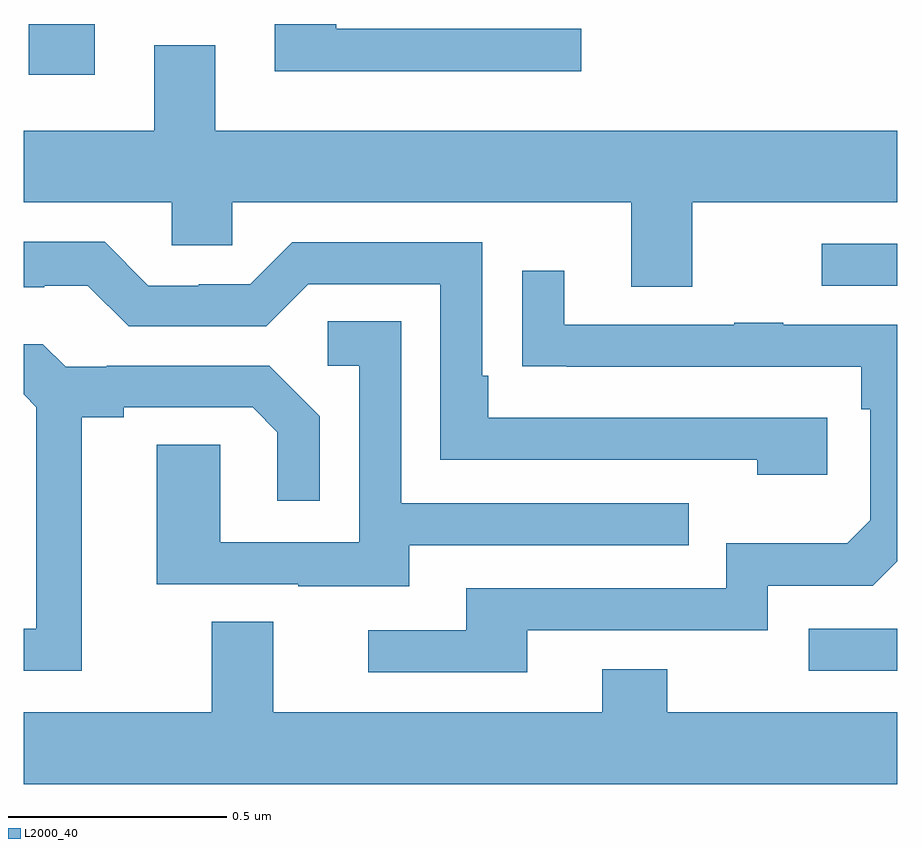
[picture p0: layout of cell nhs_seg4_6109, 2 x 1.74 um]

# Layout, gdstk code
import gdstk
lib = gdstk.Library(unit=1e-6, precision=1e-09)
def R(c, l, rs):  # rectangles x0, y0, x1, y1
    for r in rs: c.add(gdstk.rectangle(r[:2], r[2:], *l))
def P(c, l, *ps):  # polygons
    for p in ps: c.add(gdstk.Polygon(p, *l))
L2000_40 = (2000, 40)

nhs_seg4_6109 = lib.new_cell('nhs_seg4_6109')
R(nhs_seg4_6109, L2000_40, [(187.797,790.419,188,790.515), (187.827,791.301,188,791.397), (186.011,791.784,186.163,791.9)])
P(nhs_seg4_6109, L2000_40, [(187.276,791.889),(186.715,791.889),(186.715,791.9),(186.575,791.9),(186.575,791.792),(187.276,791.792)],
  [(187.531,791.492),(188,791.492),(188,791.656),(186.439,791.656),(186.439,791.851),(186.299,791.851),(186.299,791.656),(186,791.656),(186,791.492),(186.339,791.492),(186.339,791.394),(186.477,791.394),(186.477,791.492),(187.391,791.492),(187.391,791.298),(187.531,791.298)],
  [(187.84,790.998),(187.063,790.998),(187.063,791.095),(187.05,791.095),(187.05,791.4),(186.615,791.4),(186.519,791.304),(186.401,791.304),(186.401,791.301),(186.285,791.301),(186.185,791.401),(186,791.401),(186,791.297),(186.047,791.297),(186.047,791.301),(186.147,791.301),(186.24,791.208),(186.555,791.208),(186.651,791.304),(186.954,791.304),(186.954,790.902),(187.679,790.902),(187.679,790.868),(187.84,790.868)],
  [(187.153,790.512),(187.704,790.512),(187.704,790.614),(187.944,790.614),(188,790.67),(188,791.211),(187.739,791.211),(187.739,791.216),(187.627,791.216),(187.627,791.211),(187.237,791.211),(187.237,791.335),(187.141,791.335),(187.141,791.116),(187.243,791.116),(187.243,791.115),(187.918,791.115),(187.918,791.018),(187.938,791.018),(187.938,790.764),(187.885,790.711),(187.608,790.711),(187.608,790.608),(187.013,790.608),(187.013,790.512),(186.789,790.512),(186.789,790.416),(187.153,790.416)],
  [(186.883,790.707),(187.523,790.707),(187.523,790.803),(186.864,790.803),(186.864,791.219),(186.696,791.219),(186.696,791.118),(186.768,791.118),(186.768,790.713),(186.45,790.713),(186.45,790.937),(186.305,790.937),(186.305,790.617),(186.629,790.617),(186.629,790.613),(186.883,790.613)],
  [(186.133,791),(186.229,791),(186.229,791.022),(186.524,791.022),(186.581,790.965),(186.581,790.809),(186.678,790.809),(186.678,791.002),(186.562,791.118),(186.19,791.118),(186.19,791.115),(186.096,791.115),(186.044,791.167),(186,791.167),(186,791.052),(186.029,791.023),(186.029,790.515),(186,790.515),(186,790.419),(186.133,790.419)],
  [(188,790.324),(187.473,790.324),(187.473,790.423),(187.325,790.423),(187.325,790.324),(186.571,790.324),(186.571,790.532),(186.431,790.532),(186.431,790.324),(186,790.324),(186,790.16),(188,790.16)])

lib.write_gds('nhs_seg4_6109.gds')
